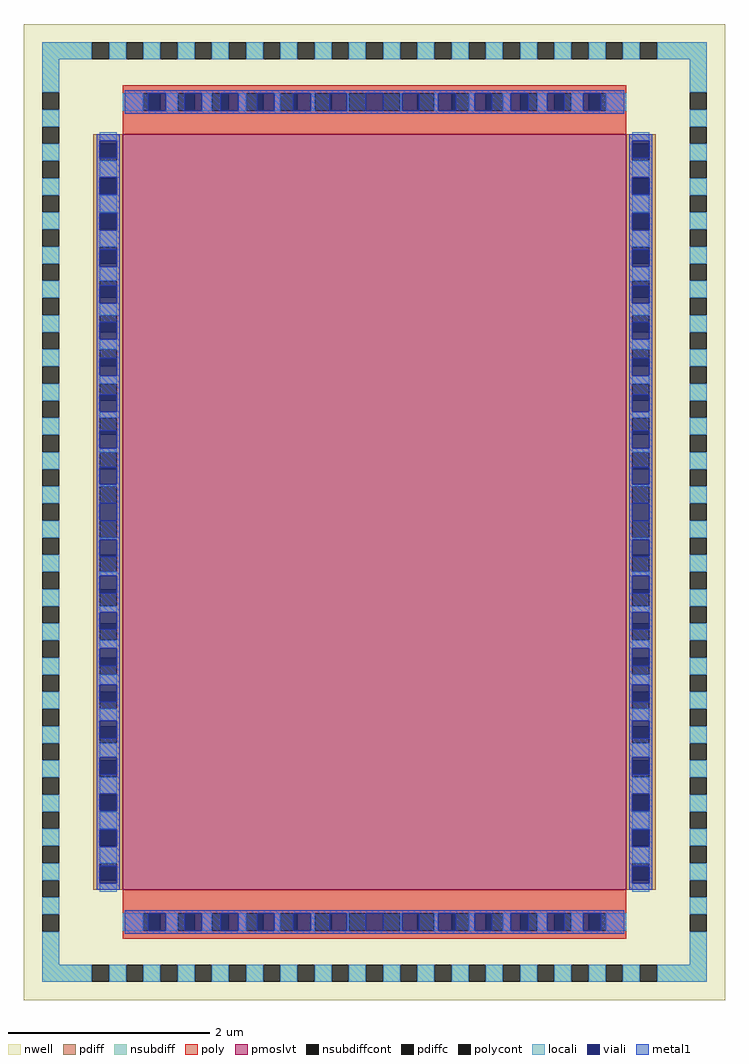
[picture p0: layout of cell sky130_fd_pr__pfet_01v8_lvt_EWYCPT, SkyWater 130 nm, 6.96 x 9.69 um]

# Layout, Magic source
magic
tech sky130A
magscale 1 2
<< nwell >>
rect -696 -969 696 969
<< pmoslvt >>
rect -500 -750 500 750
<< pdiff >>
rect -558 731 -500 750
rect -558 697 -546 731
rect -512 697 -500 731
rect -558 663 -500 697
rect -558 629 -546 663
rect -512 629 -500 663
rect -558 595 -500 629
rect -558 561 -546 595
rect -512 561 -500 595
rect -558 527 -500 561
rect -558 493 -546 527
rect -512 493 -500 527
rect -558 459 -500 493
rect -558 425 -546 459
rect -512 425 -500 459
rect -558 391 -500 425
rect -558 357 -546 391
rect -512 357 -500 391
rect -558 323 -500 357
rect -558 289 -546 323
rect -512 289 -500 323
rect -558 255 -500 289
rect -558 221 -546 255
rect -512 221 -500 255
rect -558 187 -500 221
rect -558 153 -546 187
rect -512 153 -500 187
rect -558 119 -500 153
rect -558 85 -546 119
rect -512 85 -500 119
rect -558 51 -500 85
rect -558 17 -546 51
rect -512 17 -500 51
rect -558 -17 -500 17
rect -558 -51 -546 -17
rect -512 -51 -500 -17
rect -558 -85 -500 -51
rect -558 -119 -546 -85
rect -512 -119 -500 -85
rect -558 -153 -500 -119
rect -558 -187 -546 -153
rect -512 -187 -500 -153
rect -558 -221 -500 -187
rect -558 -255 -546 -221
rect -512 -255 -500 -221
rect -558 -289 -500 -255
rect -558 -323 -546 -289
rect -512 -323 -500 -289
rect -558 -357 -500 -323
rect -558 -391 -546 -357
rect -512 -391 -500 -357
rect -558 -425 -500 -391
rect -558 -459 -546 -425
rect -512 -459 -500 -425
rect -558 -493 -500 -459
rect -558 -527 -546 -493
rect -512 -527 -500 -493
rect -558 -561 -500 -527
rect -558 -595 -546 -561
rect -512 -595 -500 -561
rect -558 -629 -500 -595
rect -558 -663 -546 -629
rect -512 -663 -500 -629
rect -558 -697 -500 -663
rect -558 -731 -546 -697
rect -512 -731 -500 -697
rect -558 -750 -500 -731
rect 500 731 558 750
rect 500 697 512 731
rect 546 697 558 731
rect 500 663 558 697
rect 500 629 512 663
rect 546 629 558 663
rect 500 595 558 629
rect 500 561 512 595
rect 546 561 558 595
rect 500 527 558 561
rect 500 493 512 527
rect 546 493 558 527
rect 500 459 558 493
rect 500 425 512 459
rect 546 425 558 459
rect 500 391 558 425
rect 500 357 512 391
rect 546 357 558 391
rect 500 323 558 357
rect 500 289 512 323
rect 546 289 558 323
rect 500 255 558 289
rect 500 221 512 255
rect 546 221 558 255
rect 500 187 558 221
rect 500 153 512 187
rect 546 153 558 187
rect 500 119 558 153
rect 500 85 512 119
rect 546 85 558 119
rect 500 51 558 85
rect 500 17 512 51
rect 546 17 558 51
rect 500 -17 558 17
rect 500 -51 512 -17
rect 546 -51 558 -17
rect 500 -85 558 -51
rect 500 -119 512 -85
rect 546 -119 558 -85
rect 500 -153 558 -119
rect 500 -187 512 -153
rect 546 -187 558 -153
rect 500 -221 558 -187
rect 500 -255 512 -221
rect 546 -255 558 -221
rect 500 -289 558 -255
rect 500 -323 512 -289
rect 546 -323 558 -289
rect 500 -357 558 -323
rect 500 -391 512 -357
rect 546 -391 558 -357
rect 500 -425 558 -391
rect 500 -459 512 -425
rect 546 -459 558 -425
rect 500 -493 558 -459
rect 500 -527 512 -493
rect 546 -527 558 -493
rect 500 -561 558 -527
rect 500 -595 512 -561
rect 546 -595 558 -561
rect 500 -629 558 -595
rect 500 -663 512 -629
rect 546 -663 558 -629
rect 500 -697 558 -663
rect 500 -731 512 -697
rect 546 -731 558 -697
rect 500 -750 558 -731
<< pdiffc >>
rect -546 697 -512 731
rect -546 629 -512 663
rect -546 561 -512 595
rect -546 493 -512 527
rect -546 425 -512 459
rect -546 357 -512 391
rect -546 289 -512 323
rect -546 221 -512 255
rect -546 153 -512 187
rect -546 85 -512 119
rect -546 17 -512 51
rect -546 -51 -512 -17
rect -546 -119 -512 -85
rect -546 -187 -512 -153
rect -546 -255 -512 -221
rect -546 -323 -512 -289
rect -546 -391 -512 -357
rect -546 -459 -512 -425
rect -546 -527 -512 -493
rect -546 -595 -512 -561
rect -546 -663 -512 -629
rect -546 -731 -512 -697
rect 512 697 546 731
rect 512 629 546 663
rect 512 561 546 595
rect 512 493 546 527
rect 512 425 546 459
rect 512 357 546 391
rect 512 289 546 323
rect 512 221 546 255
rect 512 153 546 187
rect 512 85 546 119
rect 512 17 546 51
rect 512 -51 546 -17
rect 512 -119 546 -85
rect 512 -187 546 -153
rect 512 -255 546 -221
rect 512 -323 546 -289
rect 512 -391 546 -357
rect 512 -459 546 -425
rect 512 -527 546 -493
rect 512 -595 546 -561
rect 512 -663 546 -629
rect 512 -731 546 -697
<< nsubdiff >>
rect -660 899 -561 933
rect -527 899 -493 933
rect -459 899 -425 933
rect -391 899 -357 933
rect -323 899 -289 933
rect -255 899 -221 933
rect -187 899 -153 933
rect -119 899 -85 933
rect -51 899 -17 933
rect 17 899 51 933
rect 85 899 119 933
rect 153 899 187 933
rect 221 899 255 933
rect 289 899 323 933
rect 357 899 391 933
rect 425 899 459 933
rect 493 899 527 933
rect 561 899 660 933
rect -660 833 -626 899
rect -660 765 -626 799
rect 626 833 660 899
rect 626 765 660 799
rect -660 697 -626 731
rect -660 629 -626 663
rect -660 561 -626 595
rect -660 493 -626 527
rect -660 425 -626 459
rect -660 357 -626 391
rect -660 289 -626 323
rect -660 221 -626 255
rect -660 153 -626 187
rect -660 85 -626 119
rect -660 17 -626 51
rect -660 -51 -626 -17
rect -660 -119 -626 -85
rect -660 -187 -626 -153
rect -660 -255 -626 -221
rect -660 -323 -626 -289
rect -660 -391 -626 -357
rect -660 -459 -626 -425
rect -660 -527 -626 -493
rect -660 -595 -626 -561
rect -660 -663 -626 -629
rect -660 -731 -626 -697
rect 626 697 660 731
rect 626 629 660 663
rect 626 561 660 595
rect 626 493 660 527
rect 626 425 660 459
rect 626 357 660 391
rect 626 289 660 323
rect 626 221 660 255
rect 626 153 660 187
rect 626 85 660 119
rect 626 17 660 51
rect 626 -51 660 -17
rect 626 -119 660 -85
rect 626 -187 660 -153
rect 626 -255 660 -221
rect 626 -323 660 -289
rect 626 -391 660 -357
rect 626 -459 660 -425
rect 626 -527 660 -493
rect 626 -595 660 -561
rect 626 -663 660 -629
rect 626 -731 660 -697
rect -660 -799 -626 -765
rect -660 -899 -626 -833
rect 626 -799 660 -765
rect 626 -899 660 -833
rect -660 -933 -561 -899
rect -527 -933 -493 -899
rect -459 -933 -425 -899
rect -391 -933 -357 -899
rect -323 -933 -289 -899
rect -255 -933 -221 -899
rect -187 -933 -153 -899
rect -119 -933 -85 -899
rect -51 -933 -17 -899
rect 17 -933 51 -899
rect 85 -933 119 -899
rect 153 -933 187 -899
rect 221 -933 255 -899
rect 289 -933 323 -899
rect 357 -933 391 -899
rect 425 -933 459 -899
rect 493 -933 527 -899
rect 561 -933 660 -899
<< nsubdiffcont >>
rect -561 899 -527 933
rect -493 899 -459 933
rect -425 899 -391 933
rect -357 899 -323 933
rect -289 899 -255 933
rect -221 899 -187 933
rect -153 899 -119 933
rect -85 899 -51 933
rect -17 899 17 933
rect 51 899 85 933
rect 119 899 153 933
rect 187 899 221 933
rect 255 899 289 933
rect 323 899 357 933
rect 391 899 425 933
rect 459 899 493 933
rect 527 899 561 933
rect -660 799 -626 833
rect -660 731 -626 765
rect 626 799 660 833
rect -660 663 -626 697
rect -660 595 -626 629
rect -660 527 -626 561
rect -660 459 -626 493
rect -660 391 -626 425
rect -660 323 -626 357
rect -660 255 -626 289
rect -660 187 -626 221
rect -660 119 -626 153
rect -660 51 -626 85
rect -660 -17 -626 17
rect -660 -85 -626 -51
rect -660 -153 -626 -119
rect -660 -221 -626 -187
rect -660 -289 -626 -255
rect -660 -357 -626 -323
rect -660 -425 -626 -391
rect -660 -493 -626 -459
rect -660 -561 -626 -527
rect -660 -629 -626 -595
rect -660 -697 -626 -663
rect -660 -765 -626 -731
rect 626 731 660 765
rect 626 663 660 697
rect 626 595 660 629
rect 626 527 660 561
rect 626 459 660 493
rect 626 391 660 425
rect 626 323 660 357
rect 626 255 660 289
rect 626 187 660 221
rect 626 119 660 153
rect 626 51 660 85
rect 626 -17 660 17
rect 626 -85 660 -51
rect 626 -153 660 -119
rect 626 -221 660 -187
rect 626 -289 660 -255
rect 626 -357 660 -323
rect 626 -425 660 -391
rect 626 -493 660 -459
rect 626 -561 660 -527
rect 626 -629 660 -595
rect 626 -697 660 -663
rect -660 -833 -626 -799
rect 626 -765 660 -731
rect 626 -833 660 -799
rect -561 -933 -527 -899
rect -493 -933 -459 -899
rect -425 -933 -391 -899
rect -357 -933 -323 -899
rect -289 -933 -255 -899
rect -221 -933 -187 -899
rect -153 -933 -119 -899
rect -85 -933 -51 -899
rect -17 -933 17 -899
rect 51 -933 85 -899
rect 119 -933 153 -899
rect 187 -933 221 -899
rect 255 -933 289 -899
rect 323 -933 357 -899
rect 391 -933 425 -899
rect 459 -933 493 -899
rect 527 -933 561 -899
<< poly >>
rect -500 831 500 847
rect -500 797 -459 831
rect -425 797 -391 831
rect -357 797 -323 831
rect -289 797 -255 831
rect -221 797 -187 831
rect -153 797 -119 831
rect -85 797 -51 831
rect -17 797 17 831
rect 51 797 85 831
rect 119 797 153 831
rect 187 797 221 831
rect 255 797 289 831
rect 323 797 357 831
rect 391 797 425 831
rect 459 797 500 831
rect -500 750 500 797
rect -500 -797 500 -750
rect -500 -831 -459 -797
rect -425 -831 -391 -797
rect -357 -831 -323 -797
rect -289 -831 -255 -797
rect -221 -831 -187 -797
rect -153 -831 -119 -797
rect -85 -831 -51 -797
rect -17 -831 17 -797
rect 51 -831 85 -797
rect 119 -831 153 -797
rect 187 -831 221 -797
rect 255 -831 289 -797
rect 323 -831 357 -797
rect 391 -831 425 -797
rect 459 -831 500 -797
rect -500 -847 500 -831
<< polycont >>
rect -459 797 -425 831
rect -391 797 -357 831
rect -323 797 -289 831
rect -255 797 -221 831
rect -187 797 -153 831
rect -119 797 -85 831
rect -51 797 -17 831
rect 17 797 51 831
rect 85 797 119 831
rect 153 797 187 831
rect 221 797 255 831
rect 289 797 323 831
rect 357 797 391 831
rect 425 797 459 831
rect -459 -831 -425 -797
rect -391 -831 -357 -797
rect -323 -831 -289 -797
rect -255 -831 -221 -797
rect -187 -831 -153 -797
rect -119 -831 -85 -797
rect -51 -831 -17 -797
rect 17 -831 51 -797
rect 85 -831 119 -797
rect 153 -831 187 -797
rect 221 -831 255 -797
rect 289 -831 323 -797
rect 357 -831 391 -797
rect 425 -831 459 -797
<< locali >>
rect -660 899 -561 933
rect -527 899 -493 933
rect -459 899 -425 933
rect -391 899 -357 933
rect -323 899 -289 933
rect -255 899 -221 933
rect -187 899 -153 933
rect -119 899 -85 933
rect -51 899 -17 933
rect 17 899 51 933
rect 85 899 119 933
rect 153 899 187 933
rect 221 899 255 933
rect 289 899 323 933
rect 357 899 391 933
rect 425 899 459 933
rect 493 899 527 933
rect 561 899 660 933
rect -660 833 -626 899
rect 626 833 660 899
rect -660 765 -626 799
rect -500 797 -459 831
rect -415 797 -391 831
rect -343 797 -323 831
rect -271 797 -255 831
rect -199 797 -187 831
rect -127 797 -119 831
rect -55 797 -51 831
rect 51 797 55 831
rect 119 797 127 831
rect 187 797 199 831
rect 255 797 271 831
rect 323 797 343 831
rect 391 797 415 831
rect 459 797 500 831
rect 626 765 660 799
rect -660 697 -626 731
rect -660 629 -626 663
rect -660 561 -626 595
rect -660 493 -626 527
rect -660 425 -626 459
rect -660 357 -626 391
rect -660 289 -626 323
rect -660 221 -626 255
rect -660 153 -626 187
rect -660 85 -626 119
rect -660 17 -626 51
rect -660 -51 -626 -17
rect -660 -119 -626 -85
rect -660 -187 -626 -153
rect -660 -255 -626 -221
rect -660 -323 -626 -289
rect -660 -391 -626 -357
rect -660 -459 -626 -425
rect -660 -527 -626 -493
rect -660 -595 -626 -561
rect -660 -663 -626 -629
rect -660 -731 -626 -697
rect -546 737 -512 754
rect -546 665 -512 697
rect -546 595 -512 629
rect -546 527 -512 559
rect -546 459 -512 487
rect -546 391 -512 415
rect -546 323 -512 343
rect -546 255 -512 271
rect -546 187 -512 199
rect -546 119 -512 127
rect -546 51 -512 55
rect -546 -55 -512 -51
rect -546 -127 -512 -119
rect -546 -199 -512 -187
rect -546 -271 -512 -255
rect -546 -343 -512 -323
rect -546 -415 -512 -391
rect -546 -487 -512 -459
rect -546 -559 -512 -527
rect -546 -629 -512 -595
rect -546 -697 -512 -665
rect -546 -754 -512 -737
rect 512 737 546 754
rect 512 665 546 697
rect 512 595 546 629
rect 512 527 546 559
rect 512 459 546 487
rect 512 391 546 415
rect 512 323 546 343
rect 512 255 546 271
rect 512 187 546 199
rect 512 119 546 127
rect 512 51 546 55
rect 512 -55 546 -51
rect 512 -127 546 -119
rect 512 -199 546 -187
rect 512 -271 546 -255
rect 512 -343 546 -323
rect 512 -415 546 -391
rect 512 -487 546 -459
rect 512 -559 546 -527
rect 512 -629 546 -595
rect 512 -697 546 -665
rect 512 -754 546 -737
rect 626 697 660 731
rect 626 629 660 663
rect 626 561 660 595
rect 626 493 660 527
rect 626 425 660 459
rect 626 357 660 391
rect 626 289 660 323
rect 626 221 660 255
rect 626 153 660 187
rect 626 85 660 119
rect 626 17 660 51
rect 626 -51 660 -17
rect 626 -119 660 -85
rect 626 -187 660 -153
rect 626 -255 660 -221
rect 626 -323 660 -289
rect 626 -391 660 -357
rect 626 -459 660 -425
rect 626 -527 660 -493
rect 626 -595 660 -561
rect 626 -663 660 -629
rect 626 -731 660 -697
rect -660 -799 -626 -765
rect -500 -831 -459 -797
rect -415 -831 -391 -797
rect -343 -831 -323 -797
rect -271 -831 -255 -797
rect -199 -831 -187 -797
rect -127 -831 -119 -797
rect -55 -831 -51 -797
rect 51 -831 55 -797
rect 119 -831 127 -797
rect 187 -831 199 -797
rect 255 -831 271 -797
rect 323 -831 343 -797
rect 391 -831 415 -797
rect 459 -831 500 -797
rect 626 -799 660 -765
rect -660 -899 -626 -833
rect 626 -899 660 -833
rect -660 -933 -561 -899
rect -527 -933 -493 -899
rect -459 -933 -425 -899
rect -391 -933 -357 -899
rect -323 -933 -289 -899
rect -255 -933 -221 -899
rect -187 -933 -153 -899
rect -119 -933 -85 -899
rect -51 -933 -17 -899
rect 17 -933 51 -899
rect 85 -933 119 -899
rect 153 -933 187 -899
rect 221 -933 255 -899
rect 289 -933 323 -899
rect 357 -933 391 -899
rect 425 -933 459 -899
rect 493 -933 527 -899
rect 561 -933 660 -899
<< viali >>
rect -449 797 -425 831
rect -425 797 -415 831
rect -377 797 -357 831
rect -357 797 -343 831
rect -305 797 -289 831
rect -289 797 -271 831
rect -233 797 -221 831
rect -221 797 -199 831
rect -161 797 -153 831
rect -153 797 -127 831
rect -89 797 -85 831
rect -85 797 -55 831
rect -17 797 17 831
rect 55 797 85 831
rect 85 797 89 831
rect 127 797 153 831
rect 153 797 161 831
rect 199 797 221 831
rect 221 797 233 831
rect 271 797 289 831
rect 289 797 305 831
rect 343 797 357 831
rect 357 797 377 831
rect 415 797 425 831
rect 425 797 449 831
rect -546 731 -512 737
rect -546 703 -512 731
rect -546 663 -512 665
rect -546 631 -512 663
rect -546 561 -512 593
rect -546 559 -512 561
rect -546 493 -512 521
rect -546 487 -512 493
rect -546 425 -512 449
rect -546 415 -512 425
rect -546 357 -512 377
rect -546 343 -512 357
rect -546 289 -512 305
rect -546 271 -512 289
rect -546 221 -512 233
rect -546 199 -512 221
rect -546 153 -512 161
rect -546 127 -512 153
rect -546 85 -512 89
rect -546 55 -512 85
rect -546 -17 -512 17
rect -546 -85 -512 -55
rect -546 -89 -512 -85
rect -546 -153 -512 -127
rect -546 -161 -512 -153
rect -546 -221 -512 -199
rect -546 -233 -512 -221
rect -546 -289 -512 -271
rect -546 -305 -512 -289
rect -546 -357 -512 -343
rect -546 -377 -512 -357
rect -546 -425 -512 -415
rect -546 -449 -512 -425
rect -546 -493 -512 -487
rect -546 -521 -512 -493
rect -546 -561 -512 -559
rect -546 -593 -512 -561
rect -546 -663 -512 -631
rect -546 -665 -512 -663
rect -546 -731 -512 -703
rect -546 -737 -512 -731
rect 512 731 546 737
rect 512 703 546 731
rect 512 663 546 665
rect 512 631 546 663
rect 512 561 546 593
rect 512 559 546 561
rect 512 493 546 521
rect 512 487 546 493
rect 512 425 546 449
rect 512 415 546 425
rect 512 357 546 377
rect 512 343 546 357
rect 512 289 546 305
rect 512 271 546 289
rect 512 221 546 233
rect 512 199 546 221
rect 512 153 546 161
rect 512 127 546 153
rect 512 85 546 89
rect 512 55 546 85
rect 512 -17 546 17
rect 512 -85 546 -55
rect 512 -89 546 -85
rect 512 -153 546 -127
rect 512 -161 546 -153
rect 512 -221 546 -199
rect 512 -233 546 -221
rect 512 -289 546 -271
rect 512 -305 546 -289
rect 512 -357 546 -343
rect 512 -377 546 -357
rect 512 -425 546 -415
rect 512 -449 546 -425
rect 512 -493 546 -487
rect 512 -521 546 -493
rect 512 -561 546 -559
rect 512 -593 546 -561
rect 512 -663 546 -631
rect 512 -665 546 -663
rect 512 -731 546 -703
rect 512 -737 546 -731
rect -449 -831 -425 -797
rect -425 -831 -415 -797
rect -377 -831 -357 -797
rect -357 -831 -343 -797
rect -305 -831 -289 -797
rect -289 -831 -271 -797
rect -233 -831 -221 -797
rect -221 -831 -199 -797
rect -161 -831 -153 -797
rect -153 -831 -127 -797
rect -89 -831 -85 -797
rect -85 -831 -55 -797
rect -17 -831 17 -797
rect 55 -831 85 -797
rect 85 -831 89 -797
rect 127 -831 153 -797
rect 153 -831 161 -797
rect 199 -831 221 -797
rect 221 -831 233 -797
rect 271 -831 289 -797
rect 289 -831 305 -797
rect 343 -831 357 -797
rect 357 -831 377 -797
rect 415 -831 425 -797
rect 425 -831 449 -797
<< metal1 >>
rect -496 831 496 837
rect -496 797 -449 831
rect -415 797 -377 831
rect -343 797 -305 831
rect -271 797 -233 831
rect -199 797 -161 831
rect -127 797 -89 831
rect -55 797 -17 831
rect 17 797 55 831
rect 89 797 127 831
rect 161 797 199 831
rect 233 797 271 831
rect 305 797 343 831
rect 377 797 415 831
rect 449 797 496 831
rect -496 791 496 797
rect -552 737 -506 750
rect -552 703 -546 737
rect -512 703 -506 737
rect -552 665 -506 703
rect -552 631 -546 665
rect -512 631 -506 665
rect -552 593 -506 631
rect -552 559 -546 593
rect -512 559 -506 593
rect -552 521 -506 559
rect -552 487 -546 521
rect -512 487 -506 521
rect -552 449 -506 487
rect -552 415 -546 449
rect -512 415 -506 449
rect -552 377 -506 415
rect -552 343 -546 377
rect -512 343 -506 377
rect -552 305 -506 343
rect -552 271 -546 305
rect -512 271 -506 305
rect -552 233 -506 271
rect -552 199 -546 233
rect -512 199 -506 233
rect -552 161 -506 199
rect -552 127 -546 161
rect -512 127 -506 161
rect -552 89 -506 127
rect -552 55 -546 89
rect -512 55 -506 89
rect -552 17 -506 55
rect -552 -17 -546 17
rect -512 -17 -506 17
rect -552 -55 -506 -17
rect -552 -89 -546 -55
rect -512 -89 -506 -55
rect -552 -127 -506 -89
rect -552 -161 -546 -127
rect -512 -161 -506 -127
rect -552 -199 -506 -161
rect -552 -233 -546 -199
rect -512 -233 -506 -199
rect -552 -271 -506 -233
rect -552 -305 -546 -271
rect -512 -305 -506 -271
rect -552 -343 -506 -305
rect -552 -377 -546 -343
rect -512 -377 -506 -343
rect -552 -415 -506 -377
rect -552 -449 -546 -415
rect -512 -449 -506 -415
rect -552 -487 -506 -449
rect -552 -521 -546 -487
rect -512 -521 -506 -487
rect -552 -559 -506 -521
rect -552 -593 -546 -559
rect -512 -593 -506 -559
rect -552 -631 -506 -593
rect -552 -665 -546 -631
rect -512 -665 -506 -631
rect -552 -703 -506 -665
rect -552 -737 -546 -703
rect -512 -737 -506 -703
rect -552 -750 -506 -737
rect 506 737 552 750
rect 506 703 512 737
rect 546 703 552 737
rect 506 665 552 703
rect 506 631 512 665
rect 546 631 552 665
rect 506 593 552 631
rect 506 559 512 593
rect 546 559 552 593
rect 506 521 552 559
rect 506 487 512 521
rect 546 487 552 521
rect 506 449 552 487
rect 506 415 512 449
rect 546 415 552 449
rect 506 377 552 415
rect 506 343 512 377
rect 546 343 552 377
rect 506 305 552 343
rect 506 271 512 305
rect 546 271 552 305
rect 506 233 552 271
rect 506 199 512 233
rect 546 199 552 233
rect 506 161 552 199
rect 506 127 512 161
rect 546 127 552 161
rect 506 89 552 127
rect 506 55 512 89
rect 546 55 552 89
rect 506 17 552 55
rect 506 -17 512 17
rect 546 -17 552 17
rect 506 -55 552 -17
rect 506 -89 512 -55
rect 546 -89 552 -55
rect 506 -127 552 -89
rect 506 -161 512 -127
rect 546 -161 552 -127
rect 506 -199 552 -161
rect 506 -233 512 -199
rect 546 -233 552 -199
rect 506 -271 552 -233
rect 506 -305 512 -271
rect 546 -305 552 -271
rect 506 -343 552 -305
rect 506 -377 512 -343
rect 546 -377 552 -343
rect 506 -415 552 -377
rect 506 -449 512 -415
rect 546 -449 552 -415
rect 506 -487 552 -449
rect 506 -521 512 -487
rect 546 -521 552 -487
rect 506 -559 552 -521
rect 506 -593 512 -559
rect 546 -593 552 -559
rect 506 -631 552 -593
rect 506 -665 512 -631
rect 546 -665 552 -631
rect 506 -703 552 -665
rect 506 -737 512 -703
rect 546 -737 552 -703
rect 506 -750 552 -737
rect -496 -797 496 -791
rect -496 -831 -449 -797
rect -415 -831 -377 -797
rect -343 -831 -305 -797
rect -271 -831 -233 -797
rect -199 -831 -161 -797
rect -127 -831 -89 -797
rect -55 -831 -17 -797
rect 17 -831 55 -797
rect 89 -831 127 -797
rect 161 -831 199 -797
rect 233 -831 271 -797
rect 305 -831 343 -797
rect 377 -831 415 -797
rect 449 -831 496 -797
rect -496 -837 496 -831
<< properties >>
string FIXED_BBOX -643 -916 643 916
<< end >>
